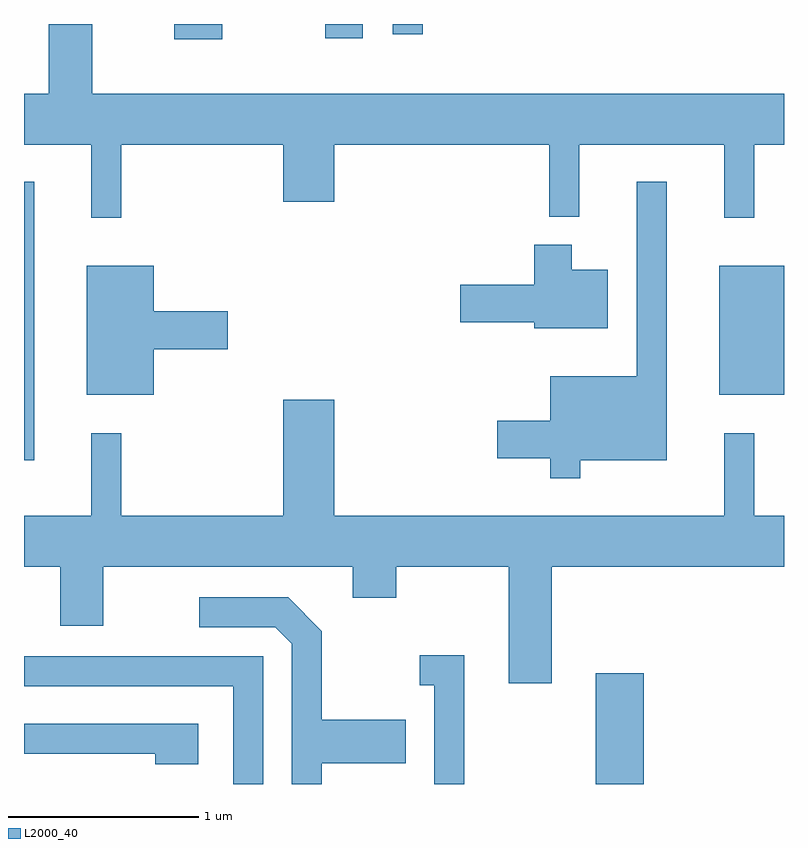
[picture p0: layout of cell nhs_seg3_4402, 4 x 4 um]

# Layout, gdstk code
import gdstk
lib = gdstk.Library(unit=1e-6, precision=1e-09)
def R(c, l, rs):  # rectangles x0, y0, x1, y1
    for r in rs: c.add(gdstk.rectangle(r[:2], r[2:], *l))
def P(c, l, *ps):  # polygons
    for p in ps: c.add(gdstk.Polygon(p, *l))
L2000_40 = (2000, 40)

nhs_seg3_4402 = lib.new_cell('nhs_seg3_4402')
R(nhs_seg3_4402, L2000_40, [(316.621,1215.892,316.874,1216.474), (313.611,1217.596,313.664,1219.063), (317.271,1217.941,317.611,1218.619), (314.401,1219.811,314.654,1219.892), (315.196,1219.816,315.394,1219.892), (315.551,1219.838,315.709,1219.892)])
P(nhs_seg3_4402, L2000_40, [(314.124,1219.256),(314.976,1219.256),(314.976,1218.956),(315.244,1218.956),(315.244,1219.256),(316.376,1219.256),(316.376,1218.878),(316.534,1218.878),(316.534,1219.256),(317.296,1219.256),(317.296,1218.873),(317.454,1218.873),(317.454,1219.256),(317.611,1219.256),(317.611,1219.524),(313.969,1219.524),(313.969,1219.892),(313.741,1219.892),(313.741,1219.524),(313.611,1219.524),(313.611,1219.256),(313.966,1219.256),(313.966,1218.873),(314.124,1218.873)],
  [(316.539,1217.596),(316.994,1217.596),(316.994,1219.063),(316.836,1219.063),(316.836,1218.039),(316.381,1218.039),(316.381,1217.804),(316.101,1217.804),(316.101,1217.606),(316.381,1217.606),(316.381,1217.501),(316.539,1217.501)],
  [(316.684,1218.599),(316.494,1218.599),(316.494,1218.729),(316.296,1218.729),(316.296,1218.519),(315.906,1218.519),(315.906,1218.321),(316.296,1218.321),(316.296,1218.291),(316.684,1218.291)],
  [(314.294,1218.181),(314.684,1218.181),(314.684,1218.379),(314.294,1218.379),(314.294,1218.619),(313.941,1218.619),(313.941,1217.941),(314.294,1217.941)],
  [(313.966,1217.304),(313.611,1217.304),(313.611,1217.036),(313.801,1217.036),(313.801,1216.726),(314.029,1216.726),(314.029,1217.036),(315.341,1217.036),(315.341,1216.871),(315.569,1216.871),(315.569,1217.036),(316.161,1217.036),(316.161,1216.421),(316.389,1216.421),(316.389,1217.036),(317.611,1217.036),(317.611,1217.304),(317.454,1217.304),(317.454,1217.738),(317.296,1217.738),(317.296,1217.304),(315.244,1217.304),(315.244,1217.914),(314.976,1217.914),(314.976,1217.304),(314.124,1217.304),(314.124,1217.738),(313.966,1217.738)],
  [(315.179,1216.001),(315.619,1216.001),(315.619,1216.229),(315.179,1216.229),(315.179,1216.697),(315.002,1216.874),(314.533,1216.874),(314.533,1216.716),(314.934,1216.716),(315.021,1216.629),(315.021,1215.892),(315.179,1215.892)],
  [(315.929,1216.569),(315.693,1216.569),(315.693,1216.411),(315.771,1216.411),(315.771,1215.892),(315.929,1215.892)],
  [(314.869,1216.564),(313.611,1216.564),(313.611,1216.406),(314.711,1216.406),(314.711,1215.892),(314.869,1215.892)],
  [(314.529,1216.209),(313.611,1216.209),(313.611,1216.051),(314.301,1216.051),(314.301,1215.996),(314.529,1215.996)])

lib.write_gds('nhs_seg3_4402.gds')
